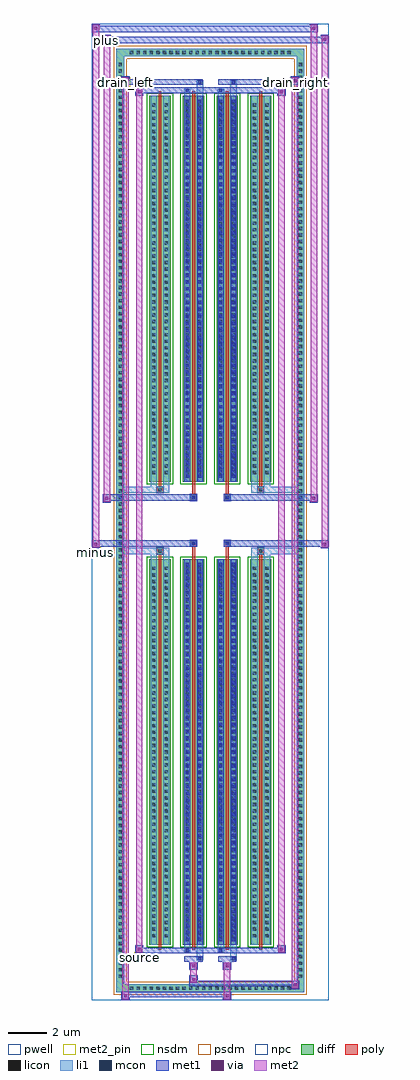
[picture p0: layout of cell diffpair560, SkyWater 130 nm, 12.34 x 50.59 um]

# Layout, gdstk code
import gdstk
lib = gdstk.Library(unit=1e-6, precision=5e-09)
def R(c, l, rs):  # rectangles x0, y0, x1, y1
    for r in rs: c.add(gdstk.rectangle(r[:2], r[2:], *l))
def A(c, l, x, y, w, h, nx, ny, dx, dy):  # array of equal rectangles
    R(c, l, [(x+i*dx, y+j*dy, x+i*dx+w, y+j*dy+h) for i in range(nx) for j in range(ny)])
def P(c, l, *ps):  # polygons
    for p in ps: c.add(gdstk.Polygon(p, *l))
pwell = (64, 44)
diff = (65, 20)
poly = (66, 20)
licon = (66, 44)
li1 = (67, 20)
mcon = (67, 44)
met1 = (68, 20)
via = (68, 44)
met2_pin = (69, 16)
met2 = (69, 20)
nsdm = (93, 44)
psdm = (94, 20)
npc = (95, 20)

diffpair560 = lib.new_cell('diffpair560')
R(diffpair560, pwell, [(-6.15,-24.86,6.15,25.73), (-3.47,-23.05,-0.01,-0.825), (0.01,-23.05,3.47,-0.825), (-3.47,0.825,-0.01,23.05), (0.01,0.825,3.47,23.05)])
A(diffpair560, diff, -4.285, -24.46, 0.41, 0.41, 25, 2, 0.34, 48.51)
A(diffpair560, diff, -4.88, -23.835, 0.41, 0.41, 1, 140, 0, 0.34)
A(diffpair560, diff, 4.47, -23.835, 0.41, 0.41, 1, 140, 0, 0.34)
A(diffpair560, diff, -3.16, -22.005, 1.1, 20, 4, 2, 1.74, 24.01)
R(diffpair560, diff, [(-4.285,-24.46,4.285,-24.05), (-4.88,-23.835,-4.47,23.835), (4.47,-23.835,4.88,23.835), (-4.285,24.05,4.285,24.46)])
P(diffpair560, diff, [(4.88,24.46),(-4.88,24.46),(-4.88,-24.05),(-4.47,-24.05),(-4.47,24.05),(4.47,24.05),(4.47,-24.05),(-4.47,-24.05),(-4.88,-24.05),(-4.88,-24.46),(4.88,-24.46)])
A(diffpair560, poly, -2.685, -22.255, 0.15, 20.5, 4, 2, 1.74, 24.01)
R(diffpair560, poly, [(-2.775,-1.755,-2.445,-1.425), (-2.775,-1.755,-2.445,-1.425), (-0.945,-1.755,-0.795,-1.355), (0.795,-1.755,0.945,-1.355), (2.445,-1.755,2.775,-1.425), (2.445,-1.755,2.775,-1.425), (-1.035,-1.355,-0.705,-1.025), (-1.035,-1.355,-0.705,-1.025), (0.705,-1.355,1.035,-1.025), (0.705,-1.355,1.035,-1.025), (-1.035,1.025,-0.705,1.355), (-1.035,1.025,-0.705,1.355), (0.705,1.025,1.035,1.355), (0.705,1.025,1.035,1.355), (-0.945,1.355,-0.795,1.755), (0.795,1.355,0.945,1.755), (-2.775,1.425,-2.445,1.755), (-2.775,1.425,-2.445,1.755), (2.445,1.425,2.775,1.755), (2.445,1.425,2.775,1.755)])
A(diffpair560, licon, -4.165, -24.34, 0.17, 0.17, 25, 2, 0.34, 48.51)
A(diffpair560, licon, -4.76, -23.715, 0.17, 0.17, 1, 140, 0, 0.34)
A(diffpair560, licon, 4.59, -23.715, 0.17, 0.17, 1, 140, 0, 0.34)
A(diffpair560, licon, -3.02, -21.61, 0.17, 0.17, 1, 57, 0, 0.34)
A(diffpair560, licon, -2.37, -21.61, 0.17, 0.17, 1, 57, 0, 0.34)
A(diffpair560, licon, -1.28, -21.61, 0.17, 0.17, 1, 57, 0, 0.34)
A(diffpair560, licon, -0.63, -21.61, 0.17, 0.17, 1, 57, 0, 0.34)
A(diffpair560, licon, 0.46, -21.61, 0.17, 0.17, 1, 57, 0, 0.34)
A(diffpair560, licon, 1.11, -21.61, 0.17, 0.17, 1, 57, 0, 0.34)
A(diffpair560, licon, 2.2, -21.61, 0.17, 0.17, 1, 57, 0, 0.34)
A(diffpair560, licon, 2.85, -21.61, 0.17, 0.17, 1, 57, 0, 0.34)
A(diffpair560, licon, -3.02, 2.4, 0.17, 0.17, 1, 57, 0, 0.34)
A(diffpair560, licon, -2.37, 2.4, 0.17, 0.17, 1, 57, 0, 0.34)
A(diffpair560, licon, -1.28, 2.4, 0.17, 0.17, 1, 57, 0, 0.34)
A(diffpair560, licon, -0.63, 2.4, 0.17, 0.17, 1, 57, 0, 0.34)
A(diffpair560, licon, 0.46, 2.4, 0.17, 0.17, 1, 57, 0, 0.34)
A(diffpair560, licon, 1.11, 2.4, 0.17, 0.17, 1, 57, 0, 0.34)
A(diffpair560, licon, 2.2, 2.4, 0.17, 0.17, 1, 57, 0, 0.34)
A(diffpair560, licon, 2.85, 2.4, 0.17, 0.17, 1, 57, 0, 0.34)
R(diffpair560, licon, [(-2.695,-1.675,-2.525,-1.505), (2.525,-1.675,2.695,-1.505), (-0.955,-1.275,-0.785,-1.105), (0.785,-1.275,0.955,-1.105), (-0.955,1.105,-0.785,1.275), (0.785,1.105,0.955,1.275), (-2.695,1.505,-2.525,1.675), (2.525,1.505,2.695,1.675)])
A(diffpair560, li1, -4.245, -24.42, 0.33, 0.33, 25, 2, 0.34, 48.51)
A(diffpair560, li1, -4.84, -23.795, 0.33, 0.33, 1, 140, 0, 0.34)
A(diffpair560, li1, 4.51, -23.795, 0.33, 0.33, 1, 140, 0, 0.34)
A(diffpair560, li1, -1.28, -21.81, 0.17, 0.17, 1, 55, 0, 0.36)
A(diffpair560, li1, -0.63, -21.81, 0.17, 0.17, 1, 55, 0, 0.36)
A(diffpair560, li1, 0.46, -21.81, 0.17, 0.17, 1, 55, 0, 0.36)
A(diffpair560, li1, 1.11, -21.81, 0.17, 0.17, 1, 55, 0, 0.36)
A(diffpair560, li1, -3.1, -21.69, 0.33, 0.33, 1, 57, 0, 0.34)
A(diffpair560, li1, -2.45, -21.69, 0.33, 0.33, 1, 57, 0, 0.34)
A(diffpair560, li1, -1.36, -21.69, 0.33, 0.33, 1, 57, 0, 0.34)
A(diffpair560, li1, -0.71, -21.69, 0.33, 0.33, 1, 57, 0, 0.34)
A(diffpair560, li1, 0.38, -21.69, 0.33, 0.33, 1, 57, 0, 0.34)
A(diffpair560, li1, 1.03, -21.69, 0.33, 0.33, 1, 57, 0, 0.34)
A(diffpair560, li1, 2.12, -21.69, 0.33, 0.33, 1, 57, 0, 0.34)
A(diffpair560, li1, 2.77, -21.69, 0.33, 0.33, 1, 57, 0, 0.34)
A(diffpair560, li1, -1.28, 2.2, 0.17, 0.17, 1, 55, 0, 0.36)
A(diffpair560, li1, -0.63, 2.2, 0.17, 0.17, 1, 55, 0, 0.36)
A(diffpair560, li1, 0.46, 2.2, 0.17, 0.17, 1, 55, 0, 0.36)
A(diffpair560, li1, 1.11, 2.2, 0.17, 0.17, 1, 55, 0, 0.36)
A(diffpair560, li1, -3.1, 2.32, 0.33, 0.33, 1, 57, 0, 0.34)
A(diffpair560, li1, -2.45, 2.32, 0.33, 0.33, 1, 57, 0, 0.34)
A(diffpair560, li1, -1.36, 2.32, 0.33, 0.33, 1, 57, 0, 0.34)
A(diffpair560, li1, -0.71, 2.32, 0.33, 0.33, 1, 57, 0, 0.34)
A(diffpair560, li1, 0.38, 2.32, 0.33, 0.33, 1, 57, 0, 0.34)
A(diffpair560, li1, 1.03, 2.32, 0.33, 0.33, 1, 57, 0, 0.34)
A(diffpair560, li1, 2.12, 2.32, 0.33, 0.33, 1, 57, 0, 0.34)
A(diffpair560, li1, 2.77, 2.32, 0.33, 0.33, 1, 57, 0, 0.34)
R(diffpair560, li1, [(-4.88,-24.46,-4.47,-24.05), (-4.88,-24.46,-4.47,-24.05), (-4.47,-24.46,4.47,-24.05), (4.47,-24.46,4.88,-24.05), (4.47,-24.46,4.88,-24.05), (-4.88,-24.05,-4.47,24.05), (4.47,-24.05,4.88,24.05), (-0.71,-22.81,-0.38,-22.005), (-0.63,-22.81,-0.46,-22.64), (1.03,-22.81,1.36,-22.005), (1.11,-22.81,1.28,-22.64), (-1.36,-22.38,-1.03,-22.005), (-1.28,-22.38,-1.11,-22.21), (0.38,-22.38,0.71,-22.005), (0.46,-22.38,0.63,-22.21), (-3.1,-22.005,-2.77,-2.005), (-2.45,-22.005,-2.12,-2.005), (-1.36,-22.005,-1.03,-2.005), (-0.71,-22.005,-0.38,-2.005), (0.38,-22.005,0.71,-2.005), (1.03,-22.005,1.36,-2.005), (2.12,-22.005,2.45,-2.005), (2.77,-22.005,3.1,-2.005), (-1.28,-21.81,-1.11,-2.2), (-0.63,-21.81,-0.46,-2.2), (0.46,-21.81,0.63,-2.2), (1.11,-21.81,1.28,-2.2), (-3.1,-2.005,-2.77,-1.425), (-2.45,-2.005,-2.12,-1.425), (2.12,-2.005,2.45,-1.425), (2.77,-2.005,3.1,-1.425), (-4.88,-1.755,-2.775,-1.425), (-3.1,-1.755,-2.775,-1.425), (-2.775,-1.755,-2.445,-1.425), (-2.445,-1.755,-2.12,-1.425), (2.12,-1.755,2.445,-1.425), (2.445,-1.755,2.775,-1.425), (2.445,-1.755,4.88,-1.425), (2.775,-1.755,3.1,-1.425), (-1.035,-1.355,-0.705,-1.025), (0.705,-1.355,1.035,-1.025), (-1.035,1.025,-0.705,1.355), (0.705,1.025,1.035,1.355), (-4.88,1.425,-2.775,1.755), (-3.1,1.425,-2.775,1.755), (-3.1,1.425,-2.77,2.005), (-2.775,1.425,-2.445,1.755), (-2.45,1.425,-2.12,2.005), (-2.445,1.425,-2.12,1.755), (2.12,1.425,2.445,1.755), (2.12,1.425,2.45,2.005), (2.445,1.425,2.775,1.755), (2.445,1.425,4.88,1.755), (2.77,1.425,3.1,2.005), (2.775,1.425,3.1,1.755), (-3.1,2.005,-2.77,22.005), (-2.45,2.005,-2.12,22.005), (-1.36,2.005,-1.03,22.005), (-0.71,2.005,-0.38,22.005), (0.38,2.005,0.71,22.005), (1.03,2.005,1.36,22.005), (2.12,2.005,2.45,22.005), (2.77,2.005,3.1,22.005), (-1.28,2.2,-1.11,21.81), (-0.63,2.2,-0.46,21.81), (0.46,2.2,0.63,21.81), (1.11,2.2,1.28,21.81), (-1.36,22.005,-1.03,22.38), (-0.71,22.005,-0.38,22.81), (0.38,22.005,0.71,22.38), (1.03,22.005,1.36,22.81), (-1.28,22.21,-1.11,22.38), (0.46,22.21,0.63,22.38), (-0.63,22.64,-0.46,22.81), (1.11,22.64,1.28,22.81), (-4.88,24.05,-4.47,24.46), (-4.88,24.05,-4.47,24.46), (-4.47,24.05,4.47,24.46), (4.47,24.05,4.88,24.46), (4.47,24.05,4.88,24.46)])
A(diffpair560, mcon, -1.28, -21.81, 0.17, 0.17, 1, 55, 0, 0.36)
A(diffpair560, mcon, -0.63, -21.81, 0.17, 0.17, 1, 55, 0, 0.36)
A(diffpair560, mcon, 0.46, -21.81, 0.17, 0.17, 1, 55, 0, 0.36)
A(diffpair560, mcon, 1.11, -21.81, 0.17, 0.17, 1, 55, 0, 0.36)
A(diffpair560, mcon, -1.28, 2.2, 0.17, 0.17, 1, 55, 0, 0.36)
A(diffpair560, mcon, -0.63, 2.2, 0.17, 0.17, 1, 55, 0, 0.36)
A(diffpair560, mcon, 0.46, 2.2, 0.17, 0.17, 1, 55, 0, 0.36)
A(diffpair560, mcon, 1.11, 2.2, 0.17, 0.17, 1, 55, 0, 0.36)
R(diffpair560, mcon, [(-0.63,-22.81,-0.46,-22.64), (1.11,-22.81,1.28,-22.64), (-1.28,-22.38,-1.11,-22.21), (0.46,-22.38,0.63,-22.21), (-0.955,-1.275,-0.785,-1.105), (0.785,-1.275,0.955,-1.105), (-0.955,1.105,-0.785,1.275), (0.785,1.105,0.955,1.275), (-1.28,22.21,-1.11,22.38), (0.46,22.21,0.63,22.38), (-0.63,22.64,-0.46,22.81), (1.11,22.64,1.28,22.81)])
A(diffpair560, met1, -1.34, -21.87, 0.29, 0.29, 1, 55, 0, 0.36)
A(diffpair560, met1, -0.69, -21.87, 0.29, 0.29, 1, 55, 0, 0.36)
A(diffpair560, met1, 0.4, -21.87, 0.29, 0.29, 1, 55, 0, 0.36)
A(diffpair560, met1, 1.05, -21.87, 0.29, 0.29, 1, 55, 0, 0.36)
A(diffpair560, met1, -1.34, 2.14, 0.29, 0.29, 1, 55, 0, 0.36)
A(diffpair560, met1, -0.69, 2.14, 0.29, 0.29, 1, 55, 0, 0.36)
A(diffpair560, met1, 0.4, 2.14, 0.29, 0.29, 1, 55, 0, 0.36)
A(diffpair560, met1, 1.05, 2.14, 0.29, 0.29, 1, 55, 0, 0.36)
R(diffpair560, met1, [(-4.61,-24.86,-4.18,-24.43), (0.655,-24.86,1.085,-24.43), (-4.61,-24.72,1.085,-24.43), (4.18,-24.29,4.61,-23.86), (-1.085,-24.15,4.61,-23.86), (-1.085,-24.01,-0.655,-23.58), (-1.085,-23.3,-0.655,-22.87), (0.655,-23.3,1.085,-22.87), (-1.34,-22.87,-0.4,-22.58), (-0.69,-22.87,-0.4,-22.58), (0.4,-22.87,1.34,-22.58), (1.05,-22.87,1.34,-22.58), (-3.9,-22.44,-3.47,-22.01), (-3.9,-22.44,-1.34,-22.15), (-1.34,-22.44,-1.05,-22.15), (-1.34,-22.44,-0.4,-22.15), (-0.4,-22.44,0.4,-22.15), (0.4,-22.44,0.69,-22.15), (0.4,-22.44,1.34,-22.15), (1.34,-22.44,3.9,-22.15), (3.47,-22.44,3.9,-22.01), (-1.34,-22.005,-1.05,-2.005), (-0.69,-22.005,-0.4,-2.005), (0.4,-22.005,0.69,-2.005), (1.05,-22.005,1.34,-2.005), (-6.15,-1.455,-5.72,-1.025), (5.72,-1.455,6.15,-1.025), (-6.15,-1.355,-0.705,-1.025), (-1.035,-1.355,-0.705,-1.025), (0.705,-1.355,1.035,-1.025), (0.705,-1.355,6.15,-1.025), (-1.015,-1.335,-0.725,-1.045), (0.725,-1.335,1.015,-1.045), (-5.58,0.925,-5.15,1.355), (5.15,0.925,5.58,1.355), (-5.58,1.025,-1.035,1.355), (-1.035,1.025,-0.705,1.355), (0.705,1.025,1.035,1.355), (1.035,1.025,5.58,1.355), (-1.015,1.045,-0.725,1.335), (0.725,1.045,1.015,1.335), (-1.34,2.005,-1.05,22.005), (-0.69,2.005,-0.4,22.005), (0.4,2.005,0.69,22.005), (1.05,2.005,1.34,22.005), (-3.9,22.01,-3.47,22.44), (3.47,22.01,3.9,22.44), (-3.9,22.15,-1.34,22.44), (-1.34,22.15,-1.05,22.44), (-1.34,22.15,-0.4,22.44), (-0.4,22.15,0.4,22.44), (0.4,22.15,0.69,22.44), (0.4,22.15,1.34,22.44), (1.34,22.15,3.9,22.44), (-4.61,22.58,-4.18,23.01), (-4.61,22.58,-1.34,22.87), (-1.34,22.58,-0.4,22.87), (-0.69,22.58,-0.4,22.87), (0.4,22.58,1.34,22.87), (1.05,22.58,1.34,22.87), (1.34,22.58,4.61,22.87), (4.18,22.58,4.61,23.01), (-5.58,24.73,-5.15,25.16), (-5.58,24.73,-3.47,25.06), (-3.47,24.73,3.47,25.06), (3.47,24.73,6.15,25.06), (5.72,24.73,6.15,25.16), (-6.15,25.3,-5.72,25.73), (-6.15,25.3,-3.47,25.63), (-3.47,25.3,3.47,25.63), (3.47,25.3,5.58,25.63), (5.15,25.3,5.58,25.73)])
R(diffpair560, via, [(-4.47,-24.72,-4.32,-24.57), (0.795,-24.72,0.945,-24.57), (4.32,-24.15,4.47,-24), (-0.945,-23.87,-0.795,-23.72), (-0.945,-23.16,-0.795,-23.01), (0.795,-23.16,0.945,-23.01), (-3.76,-22.3,-3.61,-22.15), (3.61,-22.3,3.76,-22.15), (-6.01,-1.315,-5.86,-1.165), (5.86,-1.315,6.01,-1.165), (-5.44,1.065,-5.29,1.215), (5.29,1.065,5.44,1.215), (-3.76,22.15,-3.61,22.3), (3.61,22.15,3.76,22.3), (-4.47,22.72,-4.32,22.87), (4.32,22.72,4.47,22.87), (-5.44,24.87,-5.29,25.02), (5.86,24.87,6.01,25.02), (-6.01,25.44,-5.86,25.59), (5.29,25.44,5.44,25.59)])
R(diffpair560, met2_pin, [(-3.935,-22.89,-3.435,-22.39), (-6.185,-1.905,-5.685,-1.405), (-4.645,22.46,-4.145,22.96), (4.145,22.46,4.645,22.96), (-5.615,24.61,-5.115,25.11)])
R(diffpair560, met2, [(-4.56,-24.81,-4.23,-24.48), (-4.56,-24.81,-4.23,22.96), (0.705,-24.81,1.035,-24.48), (0.705,-24.48,1.035,-23.25), (4.23,-24.24,4.56,-23.91), (4.23,-24.24,4.56,22.96), (-1.035,-23.96,-0.705,-23.63), (-1.035,-23.63,-0.705,-23.25), (-1.035,-23.25,-0.705,-22.92), (0.705,-23.25,1.035,-22.92), (-3.85,-22.39,-3.52,-22.06), (-3.85,-22.39,-3.52,22.39), (3.52,-22.39,3.85,-22.06), (3.52,-22.39,3.85,22.39), (-6.1,-1.405,-5.77,-1.075), (-6.1,-1.405,-5.77,25.68), (5.77,-1.405,6.1,-1.075), (5.77,-1.405,6.1,25.11), (-5.53,0.975,-5.2,1.305), (-5.53,0.975,-5.2,25.11), (5.2,0.975,5.53,1.305), (5.2,0.975,5.53,25.68), (-3.85,22.06,-3.52,22.39), (3.52,22.06,3.85,22.39), (-4.56,22.63,-4.23,22.96), (4.23,22.63,4.56,22.96), (-5.53,24.78,-5.2,25.11), (5.77,24.78,6.1,25.11), (-6.1,25.35,-5.77,25.68), (5.2,25.35,5.53,25.68)])
P(diffpair560, met2, [(6.1,-1.405),(6.1,-1.405),(6.1,-1.075),(6.1,-1.075)],
  [(6.1,24.78),(6.1,24.78),(6.1,25.11),(6.1,25.11)],
  [(-5.77,-1.405),(-5.77,-1.405),(-5.77,-1.075),(-5.77,-1.075)],
  [(-5.77,25.35),(-5.77,25.35),(-5.77,25.68),(-5.77,25.68)],
  [(5.53,0.975),(5.53,0.975),(5.53,1.305),(5.53,1.305)],
  [(5.53,25.35),(5.53,25.35),(5.53,25.68),(5.53,25.68)],
  [(-5.2,0.975),(-5.2,0.975),(-5.2,1.305),(-5.2,1.305)],
  [(-5.2,24.78),(-5.2,24.78),(-5.2,25.11),(-5.2,25.11)],
  [(-4.23,-24.81),(-4.23,-24.81),(-4.23,-24.48),(-4.23,-24.48)],
  [(-4.23,22.63),(-4.23,22.63),(-4.23,22.96),(-4.23,22.96)],
  [(4.56,-24.24),(4.56,-24.24),(4.56,-23.91),(4.56,-23.91)],
  [(4.56,22.63),(4.56,22.63),(4.56,22.96),(4.56,22.96)],
  [(-3.52,-22.39),(-3.52,-22.39),(-3.52,-22.06),(-3.52,-22.06)],
  [(-3.52,22.06),(-3.52,22.06),(-3.52,22.39),(-3.52,22.39)],
  [(3.85,-22.39),(3.85,-22.39),(3.85,-22.06),(3.85,-22.06)],
  [(3.85,22.06),(3.85,22.06),(3.85,22.39),(3.85,22.39)])
A(diffpair560, nsdm, -3.29, -22.135, 1.36, 20.26, 4, 2, 1.74, 24.01)
P(diffpair560, psdm, [(5.01,24.59),(-5.01,24.59),(-5.01,-23.92),(-4.34,-23.92),(-4.34,23.92),(4.34,23.92),(4.34,-23.92),(-4.34,-23.92),(-5.01,-23.92),(-5.01,-24.59),(5.01,-24.59)])
R(diffpair560, npc, [(-2.795,-1.775,-2.425,-1.405), (2.425,-1.775,2.795,-1.405), (-1.055,-1.375,-0.685,-1.005), (0.685,-1.375,1.055,-1.005), (-1.055,1.005,-0.685,1.375), (0.685,1.005,1.055,1.375), (-2.795,1.405,-2.425,1.775), (2.425,1.405,2.795,1.775)])
diffpair560.add(gdstk.Label('minus', (-5.935,-1.655), layer=69, texttype=5))
diffpair560.add(gdstk.Label('drain_right', (4.395,22.71), layer=69, texttype=5))
diffpair560.add(gdstk.Label('drain_left', (-4.395,22.71), layer=69, texttype=5))
diffpair560.add(gdstk.Label('source', (-3.685,-22.64), layer=69, texttype=5))
diffpair560.add(gdstk.Label('plus', (-5.365,24.86), layer=69, texttype=5))

lib.write_gds('diffpair560.gds')
